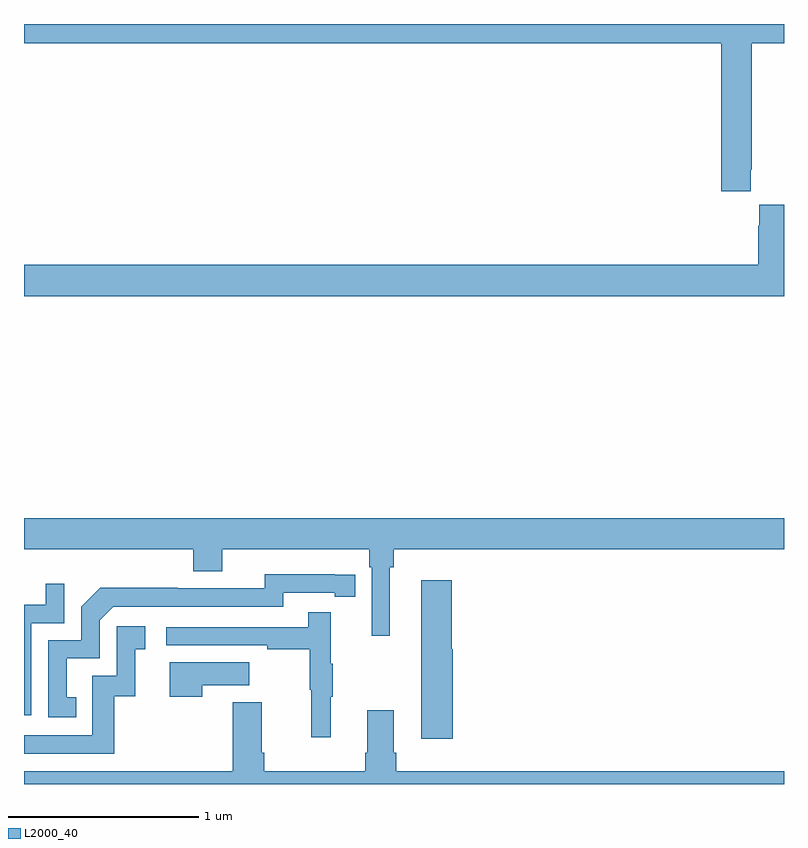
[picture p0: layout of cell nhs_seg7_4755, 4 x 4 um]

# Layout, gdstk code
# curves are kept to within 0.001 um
import gdstk
lib = gdstk.Library(unit=1e-6, precision=1e-09)
def P(c, l, *ps):  # polygons
    for p in ps: c.add(gdstk.Polygon(p, *l))
L2000_40 = (2000, 40)

nhs_seg7_4755 = lib.new_cell('nhs_seg7_4755')
P(nhs_seg7_4755, L2000_40, [(412.825,1049.233),(412.83,1049.233),(412.83,1049.9),(413,1049.9),(413,1050),(409,1050),(409,1049.9),(412.67,1049.9),(412.67,1049.121),(412.825,1049.121)],
  [(413,1049.05),(412.871,1049.05),(412.871,1048.937),(412.865,1048.937),(412.865,1048.732),(409,1048.732),(409,1048.568),(413,1048.568)],
  [(410.926,1047.14),(410.945,1047.14),(410.945,1047.236),(413,1047.236),(413,1047.4),(409,1047.4),(409,1047.236),(409.892,1047.236),(409.892,1047.119),(410.044,1047.119),(410.044,1047.236),(410.816,1047.236),(410.816,1047.14),(410.829,1047.14),(410.829,1046.781),(410.926,1046.781)],
  [(409.274,1046.457),(409.225,1046.457),(409.225,1046.661),(409.398,1046.661),(409.398,1046.862),(409.47,1046.934),(410.364,1046.934),(410.364,1047.006),(410.636,1047.006),(410.636,1046.986),(410.744,1046.986),(410.744,1047.102),(410.268,1047.103),(410.268,1047.03),(409.808,1047.03),(409.808,1047.032),(409.4,1047.032),(409.302,1046.934),(409.302,1046.757),(409.128,1046.757),(409.128,1046.352),(409.274,1046.352)],
  [(411.256,1046.709),(411.251,1046.709),(411.251,1047.073),(411.092,1047.073),(411.092,1046.238),(411.256,1046.238)],
  [(409.038,1046.847),(409.212,1046.847),(409.212,1047.055),(409.115,1047.055),(409.115,1046.943),(409,1046.943),(409,1046.361),(409.038,1046.361)],
  [(410.615,1046.459),(410.626,1046.459),(410.626,1046.633),(410.615,1046.633),(410.615,1046.905),(410.497,1046.905),(410.497,1046.826),(409.749,1046.826),(409.749,1046.73),(410.281,1046.73),(410.281,1046.71),(410.505,1046.71),(410.505,1046.496),(410.512,1046.496),(410.512,1046.247),(410.615,1046.247)],
  [(409.475,1046.463),(409.586,1046.463),(409.586,1046.709),(409.639,1046.709),(409.639,1046.83),(409.488,1046.83),(409.488,1046.571),(409.359,1046.571),(409.359,1046.256),(409,1046.256),(409,1046.16),(409.475,1046.16)],
  [(409.937,1046.519),(410.185,1046.519),(410.185,1046.641),(409.766,1046.641),(409.766,1046.46),(409.937,1046.46)],
  [(413,1046.068),(410.96,1046.068),(410.96,1046.164),(410.947,1046.164),(410.947,1046.389),(410.807,1046.389),(410.807,1046.164),(410.795,1046.164),(410.795,1046.068),(410.264,1046.068),(410.264,1046.164),(410.251,1046.164),(410.251,1046.43),(410.099,1046.43),(410.099,1046.068),(409,1046.068),(409,1046),(413,1046)])

lib.write_gds('nhs_seg7_4755.gds')
